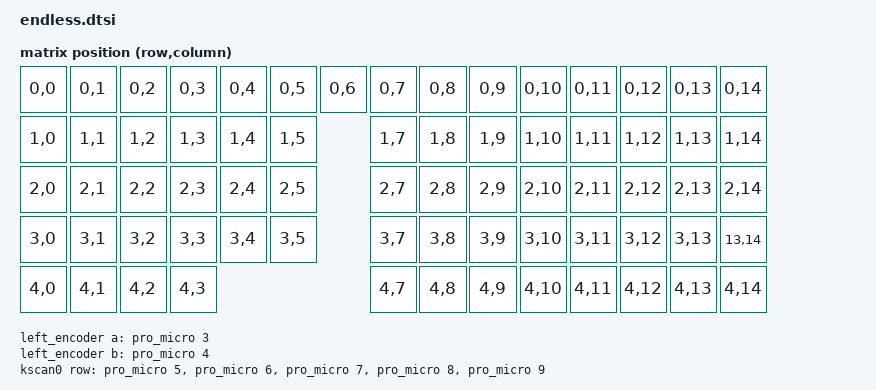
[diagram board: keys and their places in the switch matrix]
/*
 * Copyright (c) 2020 Pete Johanson
 *
 * SPDX-License-Identifier: MIT
 */

#include <dt-bindings/zmk/matrix_transform.h>

/ {
    chosen {
        zmk,kscan = &kscan0;
        zmk,matrix_transform = &default_transform;
		zmk,underglow = &led_strip;
		
        left_encoder: encoder_left {
		    compatible = "alps,ec11";
            a-gpios = <&pro_micro 3 (GPIO_ACTIVE_HIGH | GPIO_PULL_UP)>;
            b-gpios = <&pro_micro 4 (GPIO_ACTIVE_HIGH | GPIO_PULL_UP)>;
            steps = <96>;
		    status = "disabled";
        };
        sensors: sensors {
    		compatible = "zmk,keymap-sensors";
	    	sensors = <&left_encoder>;
            triggers-per-rotation = <24>;
        };
    }; 

	default_transform: keymap_transform_0 {
		compatible = "zmk,matrix-transform";
		columns = <15>;
		rows = <5>;

// This is the mapping for halfnhalf
		map = <
			RC(0,0) RC(0,1) RC(0,2) RC(0,3) RC(0,4) RC(0,5) RC(0,6)     RC(0,7) RC(0,8) RC(0,9) RC(0,10) RC(0,11) RC(0,12) RC(0,13) RC(0,14)  
			RC(1,0) RC(1,1) RC(1,2) RC(1,3) RC(1,4) RC(1,5)             RC(1,7) RC(1,8) RC(1,9) RC(1,10) RC(1,11) RC(1,12) RC(1,13) RC(1,14)  
			RC(2,0) RC(2,1) RC(2,2) RC(2,3) RC(2,4) RC(2,5)             RC(2,7) RC(2,8) RC(2,9) RC(2,10) RC(2,11) RC(2,12) RC(2,13) RC(2,14) 
			RC(3,0) RC(3,1) RC(3,2) RC(3,3) RC(3,4) RC(3,5)             RC(3,7) RC(3,8) RC(3,9) RC(3,10) RC(3,11) RC(3,12) RC(3,13) RC(13,14)
			RC(4,0) RC(4,1) RC(4,2) RC(4,3)                             RC(4,7) RC(4,8) RC(4,9) RC(4,10) RC(4,11) RC(4,12) RC(4,13) RC(4,14)
		>;
	};

	kscan0: kscan {
		compatible = "zmk,kscan-gpio-matrix";
		label = "KSCAN";
		diode-direction = "col2row";
        row-gpios
            = <&pro_micro 5 (GPIO_ACTIVE_HIGH | GPIO_PULL_DOWN)>
            , <&pro_micro 6 (GPIO_ACTIVE_HIGH | GPIO_PULL_DOWN)>
            , <&pro_micro 7 (GPIO_ACTIVE_HIGH | GPIO_PULL_DOWN)>
            , <&pro_micro 8 (GPIO_ACTIVE_HIGH | GPIO_PULL_DOWN)>
            , <&pro_micro 9 (GPIO_ACTIVE_HIGH | GPIO_PULL_DOWN)>
            ;
    };

	// TODO: per-key RGB node(s)?
};

&spi3 {
	compatible = "nordic,nrf-spim";
	status = "okay";

	pinctrl-0 = <&spi3_default>;
	pinctrl-1 = <&spi3_sleep>;
	pinctrl-names = "default", "sleep";

	led_strip: ws2812@0 {
		compatible = "worldsemi,ws2812-spi";
		label = "WS2812";

		/* SPI */
		reg = <0>; /* ignored, but necessary for SPI bindings */
		spi-max-frequency = <4000000>;

		/* WS2812 */
		chain-length = <17>; /* arbitrary; change at will */
		spi-one-frame = <0x70>;
		spi-zero-frame = <0x40>;

		color-mapping = <LED_COLOR_ID_GREEN LED_COLOR_ID_RED LED_COLOR_ID_BLUE>;
	};
};

&pro_micro_i2c {
	status = "okay";

	oled: ssd1306@3c {
		compatible = "solomon,ssd1306fb";
		reg = <0x3c>;
		label = "DISPLAY";
		width = <128>;
		height = <32>;
		segment-offset = <0>;
		page-offset = <0>;
		display-offset = <0>;
		multiplex-ratio = <31>;
		segment-remap;
		com-invdir;
		com-sequential;
		prechargep = <0x22>;
	};
};

&left_encoder {
	status = "okay";
};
